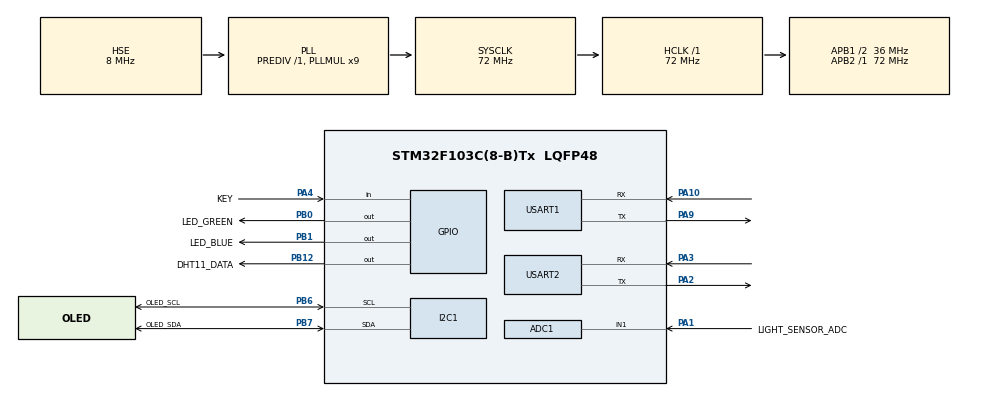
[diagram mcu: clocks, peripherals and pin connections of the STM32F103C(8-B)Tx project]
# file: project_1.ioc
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ADC1.Channel-0\#ChannelRegularConversion=ADC_CHANNEL_1
ADC1.NbrOfConversionFlag=1
ADC1.Rank-0\#ChannelRegularConversion=1
ADC1.SamplingTime-0\#ChannelRegularConversion=ADC_SAMPLETIME_1CYCLE_5
ADC1.master=1
FREERTOS.Tasks01=SensorTask,32,256,StartSensorTask,Default,NULL,Dynamic,NULL,NULL;UartTask,24,256,StartUartTask,Default,NULL,Dynamic,NULL,NULL;oledTask,8,512,StartOledTask,Default,NULL,Dynamic,NULL,NULL;esp32Task,8,256,StartEsp32Task,Default,NULL,Dynamic,NULL,NULL;LightSensorTask,24,256,StartLightSensorTask,Default,NULL,Dynamic,NULL,NULL
FREERTOS.configTOTAL_HEAP_SIZE=8192
Mcu.Family=STM32F1
Mcu.Name=STM32F103C(8-B)Tx
Mcu.Package=LQFP48
NVIC.PriorityGroup=NVIC_PRIORITYGROUP_4
NVIC.TIM4_IRQn=true\:15\:0\:false\:false\:true\:false\:false\:true\:true
NVIC.TimeBase=TIM4_IRQn
NVIC.TimeBaseIP=TIM4
NVIC.USART2_IRQn=true\:5\:0\:false\:false\:true\:true\:true\:true\:true
PA1.GPIO_Label=LIGHT_SENSOR_ADC
PA1.Signal=ADCx_IN1
PA10.Mode=Asynchronous
PA10.Signal=USART1_RX
PA13.Mode=Serial_Wire
PA13.Signal=SYS_JTMS-SWDIO
PA14.Mode=Serial_Wire
PA14.Signal=SYS_JTCK-SWCLK
PA2.Mode=Asynchronous
PA2.Signal=USART2_TX
PA3.Mode=Asynchronous
PA3.Signal=USART2_RX
PA4.GPIO_Label=KEY
PA4.GPIO_PuPd=GPIO_PULLUP
PA4.Signal=GPIO_Input
PA9.Mode=Asynchronous
PA9.Signal=USART1_TX
PB0.GPIO_Label=LED_GREEN
PB0.Signal=GPIO_Output
PB1.GPIO_Label=LED_BLUE
PB1.Signal=GPIO_Output
PB12.GPIO_Label=DHT11_DATA
PB12.GPIO_PuPd=GPIO_PULLUP
PB12.Signal=GPIO_Output
PB6.GPIO_Label=OLED_SCL
PB6.Mode=I2C
PB6.Signal=I2C1_SCL
PB7.GPIO_Label=OLED_SDA
PB7.Mode=I2C
PB7.Signal=I2C1_SDA
PC14-OSC32_IN.Mode=LSE-External-Oscillator
PC14-OSC32_IN.Signal=RCC_OSC32_IN
PC15-OSC32_OUT.Mode=LSE-External-Oscillator
PC15-OSC32_OUT.Signal=RCC_OSC32_OUT
PD0-OSC_IN.Mode=HSE-External-Oscillator
PD0-OSC_IN.Signal=RCC_OSC_IN
PD1-OSC_OUT.Mode=HSE-External-Oscillator
PD1-OSC_OUT.Signal=RCC_OSC_OUT
ProjectManager.HeapSize=0x200
ProjectManager.StackSize=0x400
ProjectManager.TargetToolchain=CMake
RCC.ADCPresc=RCC_ADCPCLK2_DIV6
RCC.AHBFreq_Value=72000000
RCC.APB1CLKDivider=RCC_HCLK_DIV2
RCC.APB1Freq_Value=36000000
RCC.APB1TimFreq_Value=72000000
RCC.APB2Freq_Value=72000000
RCC.APB2TimFreq_Value=72000000
RCC.HCLKFreq_Value=72000000
RCC.PLLMUL=RCC_PLL_MUL9
RCC.PLLSourceVirtual=RCC_PLLSOURCE_HSE
RCC.SYSCLKFreq_VALUE=72000000
RCC.SYSCLKSource=RCC_SYSCLKSOURCE_PLLCLK
RCC.USBFreq_Value=72000000
SH.ADCx_IN1.0=ADC1_IN1,IN1
TIM2.AutoReloadPreload=TIM_AUTORELOAD_PRELOAD_ENABLE
TIM2.Prescaler=71
USART1.VirtualMode=VM_ASYNC
USART2.VirtualMode=VM_ASYNC
VP_FREERTOS_VS_CMSIS_V2.Mode=CMSIS_V2
VP_SYS_VS_tim4.Mode=TIM4
VP_TIM2_VS_ClockSourceINT.Mode=Internal
board=custom

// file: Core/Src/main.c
/* USER CODE BEGIN Header */
/**
  ******************************************************************************
  * @file           : main.c
  * @brief          : Main program body
  ******************************************************************************
  * @attention
  *
  * Copyright (c) 2026 STMicroelectronics.
  * All rights reserved.
  *
  * This software is licensed under terms that can be found in the LICENSE file
  * in the root directory of this software component.
  * If no LICENSE file comes with this software, it is provided AS-IS.
  *
  ******************************************************************************
  */
/* USER CODE END Header */
#include "main.h"
#include "cmsis_os.h"
#include "adc.h"
#include "i2c.h"
#include "tim.h"
#include "usart.h"
#include "gpio.h"

/* USER CODE BEGIN Includes */
#include "bsp_esp32c6.h"
/* USER CODE END Includes */

void SystemClock_Config(void);
void MX_FREERTOS_Init(void);

int main(void)
{

  /* MCU Configuration--------------------------------------------------------*/

  /* Reset of all peripherals, Initializes the Flash interface and the Systick. */
  HAL_Init();

  /* Configure the system clock */
  SystemClock_Config();

  /* Initialize all configured peripherals */
  MX_GPIO_Init();
  MX_USART1_UART_Init();
  MX_USART2_UART_Init();
  MX_TIM2_Init();
  MX_I2C1_Init();
  MX_ADC1_Init();
  /* USER CODE BEGIN 2 */
  HAL_TIM_Base_Start(&htim2);
  ESP32C6_Driver_Init();
  /* USER CODE END 2 */

  /* Init scheduler */
  osKernelInitialize();  /* Call init function for freertos objects (in cmsis_os2.c) */
  MX_FREERTOS_Init();

  /* Start scheduler */
  osKernelStart();

  /* We should never get here as control is now taken by the scheduler */

  /* Infinite loop */
  while (1)
  {

  }
}

void SystemClock_Config(void)
{
  RCC_OscInitTypeDef RCC_OscInitStruct = {0};
  RCC_ClkInitTypeDef RCC_ClkInitStruct = {0};
  RCC_PeriphCLKInitTypeDef PeriphClkInit = {0};

  /** Initializes the RCC Oscillators according to the specified parameters
  * in the RCC_OscInitTypeDef structure.
  */
  RCC_OscInitStruct.OscillatorType = RCC_OSCILLATORTYPE_HSE;
  RCC_OscInitStruct.HSEState = RCC_HSE_ON;
  RCC_OscInitStruct.HSEPredivValue = RCC_HSE_PREDIV_DIV1;
  RCC_OscInitStruct.HSIState = RCC_HSI_ON;
  RCC_OscInitStruct.PLL.PLLState = RCC_PLL_ON;
  RCC_OscInitStruct.PLL.PLLSource = RCC_PLLSOURCE_HSE;
  RCC_OscInitStruct.PLL.PLLMUL = RCC_PLL_MUL9;
  if (HAL_RCC_OscConfig(&RCC_OscInitStruct) != HAL_OK)
  {
    Error_Handler();
  }

  /** Initializes the CPU, AHB and APB buses clocks
  */
  RCC_ClkInitStruct.ClockType = RCC_CLOCKTYPE_HCLK|RCC_CLOCKTYPE_SYSCLK
                              |RCC_CLOCKTYPE_PCLK1|RCC_CLOCKTYPE_PCLK2;
  RCC_ClkInitStruct.SYSCLKSource = RCC_SYSCLKSOURCE_PLLCLK;
  RCC_ClkInitStruct.AHBCLKDivider = RCC_SYSCLK_DIV1;
  RCC_ClkInitStruct.APB1CLKDivider = RCC_HCLK_DIV2;
  RCC_ClkInitStruct.APB2CLKDivider = RCC_HCLK_DIV1;

  if (HAL_RCC_ClockConfig(&RCC_ClkInitStruct, FLASH_LATENCY_2) != HAL_OK)
  {
    Error_Handler();
  }
  PeriphClkInit.PeriphClockSelection = RCC_PERIPHCLK_ADC;
  PeriphClkInit.AdcClockSelection = RCC_ADCPCLK2_DIV6;
  if (HAL_RCCEx_PeriphCLKConfig(&PeriphClkInit) != HAL_OK)
  {
    Error_Handler();
  }
}

void HAL_TIM_PeriodElapsedCallback(TIM_HandleTypeDef *htim)
{
  if (htim->Instance == TIM4)
  {
    HAL_IncTick();
  }
}

void Error_Handler(void)
{
  __disable_irq();
  while (1)
  {
  }
}

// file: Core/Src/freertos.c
/* USER CODE BEGIN Header */
/**
  ******************************************************************************
  * File Name          : freertos.c
  * Description        : Code for freertos applications
  ******************************************************************************
  * @attention
  *
  * Copyright (c) 2026 STMicroelectronics.
  * All rights reserved.
  *
  * This software is licensed under terms that can be found in the LICENSE file
  * in the root directory of this software component.
  * If no LICENSE file comes with this software, it is provided AS-IS.
  *
  ******************************************************************************
  */
/* USER CODE END Header */

#include "FreeRTOS.h"
#include "task.h"
#include "main.h"
#include "cmsis_os.h"

/* USER CODE BEGIN Includes */
#include "usart.h"
#include "stdio.h"
#include "app_data.h"
#include "task_dht11.h"
#include "task_uart.h"
#include "task_oled.h"
#include "task_esp32c6.h"
#include "task_light.h"
/* USER CODE END Includes */

/* Definitions for SensorTask */
osThreadId_t SensorTaskHandle;
const osThreadAttr_t SensorTask_attributes = {
  .name = "SensorTask",
  .stack_size = 256 * 4,
  .priority = (osPriority_t) osPriorityAboveNormal,
};
/* Definitions for UartTask */
osThreadId_t UartTaskHandle;
const osThreadAttr_t UartTask_attributes = {
  .name = "UartTask",
  .stack_size = 256 * 4,
  .priority = (osPriority_t) osPriorityNormal,
};
/* Definitions for oledTask */
osThreadId_t oledTaskHandle;
const osThreadAttr_t oledTask_attributes = {
  .name = "oledTask",
  .stack_size = 512 * 4,
  .priority = (osPriority_t) osPriorityLow,
};
/* Definitions for esp32Task */
osThreadId_t esp32TaskHandle;
const osThreadAttr_t esp32Task_attributes = {
  .name = "esp32Task",
  .stack_size = 256 * 4,
  .priority = (osPriority_t) osPriorityLow,
};
/* Definitions for LightSensorTask */
osThreadId_t LightSensorTaskHandle;
const osThreadAttr_t LightSensorTask_attributes = {
  .name = "LightSensorTask",
  .stack_size = 256 * 4,
  .priority = (osPriority_t) osPriorityNormal,
};

void StartSensorTask(void *argument);
void StartUartTask(void *argument);
void StartOledTask(void *argument);
void StartEsp32Task(void *argument);
void StartLightSensorTask(void *argument);

void MX_FREERTOS_Init(void); /* (MISRA C 2004 rule 8.1) */

void MX_FREERTOS_Init(void) {

  /* USER CODE BEGIN RTOS_MUTEX */
  /* add mutexes, ... */
  printMutex = osMutexNew(NULL);  /* 创建打印互斥锁 */
  /* USER CODE END RTOS_MUTEX */

  /* USER CODE BEGIN RTOS_QUEUES */
  /* add queues, ... */
  /* 传感器向串口发送的数据队列，长度10，元素大小为app_data_t */
  sensor_to_uart_Queue = osMessageQueueNew(10, sizeof(app_data_t), NULL);
  /* 传感器向OLED发送的数据队列，长度10，元素大小为app_data_t */
  sensor_to_oled_Queue = osMessageQueueNew(10, sizeof(app_data_t), NULL);
  /* 串口向ESP32C6发送的数据队列，长度10，元素大小为app_data_t */
  uart_to_esp32_Queue = osMessageQueueNew(10, sizeof(app_data_t), NULL);
  /* USER CODE END RTOS_QUEUES */

  /* Create the thread(s) */
  /* creation of SensorTask */
  SensorTaskHandle = osThreadNew(StartSensorTask, NULL, &SensorTask_attributes);

  /* creation of UartTask */
  UartTaskHandle = osThreadNew(StartUartTask, NULL, &UartTask_attributes);

  /* creation of oledTask */
  oledTaskHandle = osThreadNew(StartOledTask, NULL, &oledTask_attributes);

  /* creation of esp32Task */
  esp32TaskHandle = osThreadNew(StartEsp32Task, NULL, &esp32Task_attributes);

  /* creation of LightSensorTask */
  LightSensorTaskHandle = osThreadNew(StartLightSensorTask, NULL, &LightSensorTask_attributes);

}

void StartSensorTask(void *argument)
{
  /* USER CODE BEGIN StartSensorTask */
  /* Infinite loop */
  sensor_task(argument);
  /* USER CODE END StartSensorTask */
}

void StartUartTask(void *argument)
{
  /* USER CODE BEGIN StartUartTask */
  /* Infinite loop */
  uart_task(argument);
  /* USER CODE END StartUartTask */
}

void StartOledTask(void *argument)
{
  /* USER CODE BEGIN StartOledTask */
  /* Infinite loop */
  oled_task(argument);
  /* USER CODE END StartOledTask */
}

void StartEsp32Task(void *argument)
{
  /* USER CODE BEGIN StartEsp32Task */
  /* Infinite loop */
  esp32c6_task(argument);
  /* USER CODE END StartEsp32Task */
}

void StartLightSensorTask(void *argument)
{
  /* USER CODE BEGIN StartLightSensorTask */
  /* Infinite loop */
  light_sensor_task(argument);
  /* USER CODE END StartLightSensorTask */
}
